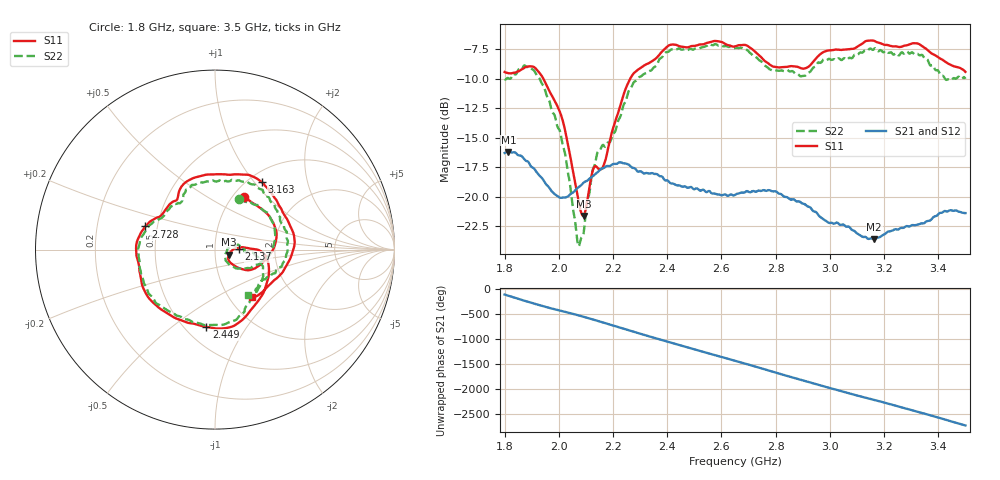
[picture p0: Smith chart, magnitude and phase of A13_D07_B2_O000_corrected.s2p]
! Created with skrf 1.9.0 (http://scikit-rf.org).
# Hz S RI R 50.0
!freq ReS11 ImS11 ReS21 ImS21 ReS12 ImS12 ReS22 ImS22
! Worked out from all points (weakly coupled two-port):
!   1601 points, 1.8 GHz to 3.5 GHz, reference 50 ohm
!   highest |S21| = -16.21 dB at 1.814 GHz (marker M1); lowest = -23.6 dB at 3.163 GHz (marker M2)
!   lowest |S11| = -21.6 dB at 2.091 GHz (marker M3), VSWR 1.18, Z = 58.3 - j3.32 ohm
!   |S11| at or under -10 dB: 1.943 GHz to 2.263 GHz (320.4 MHz wide, 15.2 % of centre)
!   |S22| runs from -24.2 to -7.1 dB; largest |S21 - S12| = 0.0029
!   S11 on the Smith chart (normalised r, x): 1.8 GHz: 1.13, +0.75; 2.137 GHz: 1.31, +0.01; 2.449 GHz: 0.63, -0.67; 2.728 GHz: 0.43, +0.13; 3.163 GHz: 1.16, +1.10; 3.5 GHz: 1.27, -0.76
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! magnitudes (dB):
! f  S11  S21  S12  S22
! 1.8 GHz  -9.4  -16.3  -16.3  -10.0
! 1.814 GHz  -9.5  -16.2  -16.2  -10.0
! 1.881 GHz  -9.0  -17.0  -17.0  -9.0
! 1.941 GHz  -9.9  -18.5  -18.5  -10.5
! 2.013 GHz  -13.4  -20.1  -20.1  -15.4
! 2.068 GHz  -19.8  -19.3  -19.3  -23.7
! 2.084 GHz  -21.4  -19.0  -19.0  -23.5
! 2.091 GHz  -21.6  -18.8  -18.9  -23.1
! 2.137 GHz  -17.4  -18.1  -18.1  -16.9
! 2.167 GHz  -17.3  -17.6  -17.6  -15.7
! 2.265 GHz  -9.9  -17.4  -17.4  -10.8
! 2.367 GHz  -8.1  -18.2  -18.1  -8.5
! 2.449 GHz  -7.3  -19.1  -19.1  -7.5
! 2.65 GHz  -7.3  -19.9  -19.8  -7.4
! 2.728 GHz  -7.8  -19.6  -19.6  -8.2
! 2.798 GHz  -9.0  -19.5  -19.5  -9.3
! 2.934 GHz  -8.7  -21.1  -21.1  -9.2
! 3.163 GHz  -6.8  -23.6  -23.6  -7.5
! 3.217 GHz  -7.2  -22.9  -22.9  -7.8
! 3.326 GHz  -7.0  -22.4  -22.3  -7.9
! 3.43 GHz  -8.6  -21.3  -21.2  -10.1
! 3.5 GHz  -9.4  -21.4  -21.4  -10.0
